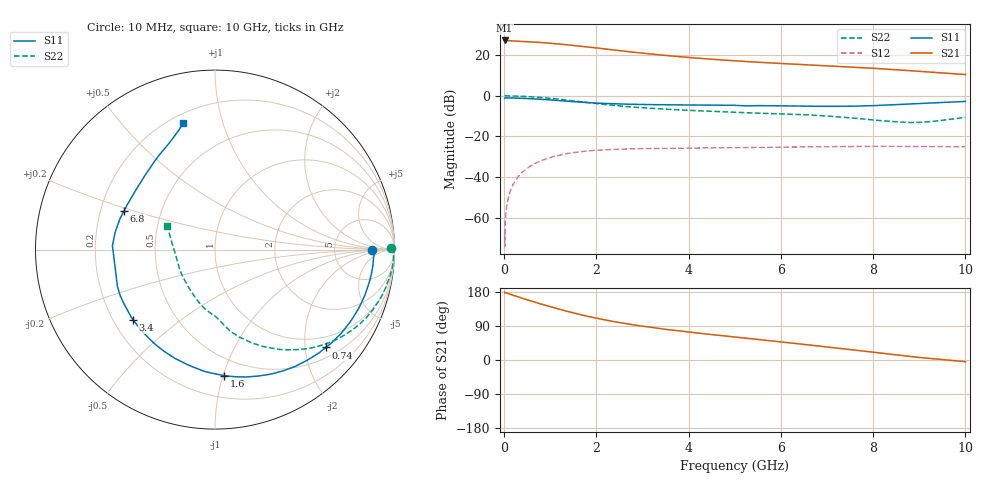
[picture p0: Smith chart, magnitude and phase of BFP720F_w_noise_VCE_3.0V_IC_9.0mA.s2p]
! Infineon Technologies  Discrete & RF Semiconductors
! BFP720F
! VCE =  3.0 V,  IC =  9.0 mA
! Common Emitter S-Parameters:  Jan 2016
# GHz  S  MA  R  50
!  f  S11  S21  S12  S22
! GHz  MAG  ANG  MAG  ANG  MAG  ANG  MAG  ANG
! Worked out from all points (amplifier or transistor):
!   233 points, 10 MHz to 10 GHz, reference 50 ohm
!   highest |S21| = 27.2 dB at 10 MHz (marker M1)
!   |S21| within 3 dB of that: start of sweep to 1.741 GHz
!   unconditionally stable (mu >= 1): 6.914 GHz to end of sweep
!   at 200 MHz: K = 0.06, MSG = 35.1 dB, |S12| = -43.3 dB
!   at 1.74 GHz: K = 0.29, MSG = 25.8 dB, |S12| = -27.3 dB
!   at 10 GHz: K = 1.28, MAG = 14.6 dB, |S12| = -25.1 dB
!   lowest NFmin = 0.52 dB at 450 MHz
!   S11 on the Smith chart (normalised r, x): 10 MHz: 15, -0; 740 MHz: 0.72, -2.46; 1.6 GHz: 0.36, -1.01; 3.4 GHz: 0.28, -0.34; 6.8 GHz: 0.30, +0.19; 10 GHz: 0.25, +0.75
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0.01  0.8739 -0.1  22.88 179.1  0.0004 -98.7  0.9797 0.5
0.015  0.881 -0.6  22.73 178.1  0.0002 93.0  0.9883 -0.4
0.02  0.8881 -1.0  22.6 177.1  0.0008 87.2  0.9971 -1.2
0.05  0.8846 -2.9  22.75 177.0  0.0017 87.7  0.9954 -1.7
0.18  0.8804 -10.2  22.32 171.2  0.0061 83.6  0.9907 -6.4
0.36  0.8675 -20.3  21.71 164.1  0.012 78.0  0.974 -12.7
0.6  0.8434 -33.7  21 155.1  0.0196 70.5  0.9407 -20.9
0.74  0.824 -41.4  20.51 150.0  0.0236 66.1  0.917 -25.5
0.96  0.7937 -53.4  19.7 142.1  0.0294 59.5  0.8719 -32.3
1.2  0.7599 -66.0  18.65 133.9  0.0347 53.0  0.8181 -39.5
1.4  0.7313 -76.0  17.74 127.4  0.0384 47.9  0.7721 -45.0
1.6  0.7037 -85.9  16.9 121.2  0.0414 43.3  0.726 -50.1
1.68  0.6937 -89.6  16.5 118.8  0.0424 41.5  0.7073 -52.1
2.02  0.6589 -103.5  14.9 109.7  0.0457 34.9  0.6386 -59.5
2.4  0.6339 -116.6  13.25 100.8  0.0481 28.8  0.5759 -66.5
2.8  0.6149 -127.5  11.77 92.7  0.0494 24.1  0.5246 -72.0
3.4  0.6003 -139.4  10.04 82.7  0.0507 19.1  0.4746 -78.0
4  0.5908 -148.2  8.725 73.7  0.0515 15.4  0.4369 -81.8
5.1  0.5723 -163.5  7.104 59.4  0.053 10.9  0.3886 -87.2
6.8  0.5507 156.7  5.577 37.2  0.0556 5.2  0.3268 -101.6
8.4  0.5977 124.0  4.442 14.9  0.0569 -0.7  0.2333 -141.5
10  0.7261 104.1  3.321 -4.5  0.0555 -4.1  0.2947 153.9
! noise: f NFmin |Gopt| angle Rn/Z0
0.45  0.52  0.33  4  0.18
0.9  0.55  0.31  9  0.15
1.8  0.6  0.29  15  0.14
2.4  0.63  0.26  25  0.14
5.5  0.77  0.25  48  0.08
10  0.99  0.27  -94  0.17
